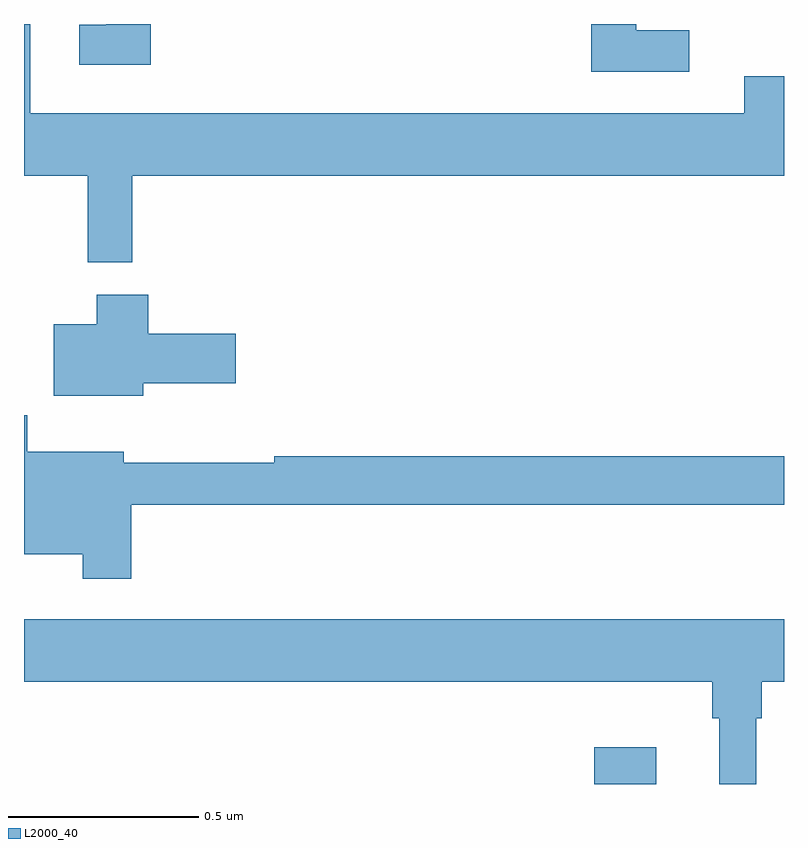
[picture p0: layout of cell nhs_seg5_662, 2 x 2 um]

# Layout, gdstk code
import gdstk
lib = gdstk.Library(unit=1e-6, precision=1e-09)
def R(c, l, rs):  # rectangles x0, y0, x1, y1
    for r in rs: c.add(gdstk.rectangle(r[:2], r[2:], *l))
def P(c, l, *ps):  # polygons
    for p in ps: c.add(gdstk.Polygon(p, *l))
L2000_40 = (2000, 40)

nhs_seg5_662 = lib.new_cell('nhs_seg5_662')
R(nhs_seg5_662, L2000_40, [(120.5,881.799,120.664,881.896)])
P(nhs_seg5_662, L2000_40, [(119.333,883.799),(119.217,883.799),(119.217,883.797),(119.145,883.797),(119.145,883.692),(119.333,883.692)],
  [(119.285,883.4),(121,883.4),(121,883.662),(120.896,883.662),(120.896,883.564),(119.017,883.564),(119.017,883.799),(119,883.799),(119,883.4),(119.168,883.4),(119.168,883.172),(119.285,883.172)],
  [(120.751,883.783),(120.611,883.783),(120.611,883.799),(120.493,883.799),(120.493,883.674),(120.751,883.674)],
  [(119.314,882.854),(119.557,882.854),(119.557,882.984),(119.327,882.984),(119.327,883.087),(119.192,883.087),(119.192,883.009),(119.078,883.009),(119.078,882.821),(119.314,882.821)],
  [(119.282,882.534),(121,882.534),(121,882.662),(119.659,882.662),(119.659,882.644),(119.263,882.644),(119.263,882.673),(119.009,882.673),(119.009,882.769),(119,882.769),(119,882.404),(119.154,882.404),(119.154,882.339),(119.282,882.339)],
  [(120.927,881.972),(120.941,881.972),(120.941,882.068),(121,882.068),(121,882.232),(119,882.232),(119,882.068),(120.811,882.068),(120.811,881.972),(120.83,881.972),(120.83,881.799),(120.927,881.799)])

lib.write_gds('nhs_seg5_662.gds')
